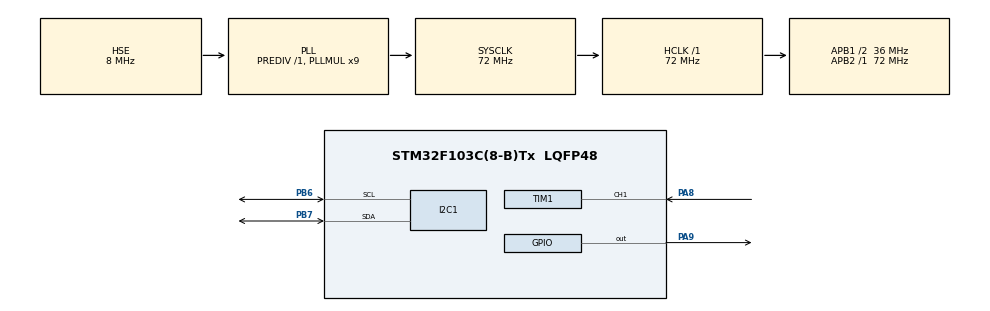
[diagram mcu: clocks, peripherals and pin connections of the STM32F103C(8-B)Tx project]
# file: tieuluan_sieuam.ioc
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Mcu.Family=STM32F1
Mcu.Name=STM32F103C(8-B)Tx
Mcu.Package=LQFP48
NVIC.PriorityGroup=NVIC_PRIORITYGROUP_4
NVIC.TIM1_CC_IRQn=true\:0\:0\:false\:false\:true\:true\:true\:true
PA13.Mode=Serial_Wire
PA13.Signal=SYS_JTMS-SWDIO
PA14.Mode=Serial_Wire
PA14.Signal=SYS_JTCK-SWCLK
PA8.Signal=S_TIM1_CH1
PA9.Signal=GPIO_Output
PB6.Mode=I2C
PB6.Signal=I2C1_SCL
PB7.Mode=I2C
PB7.Signal=I2C1_SDA
PD0-OSC_IN.Mode=HSE-External-Oscillator
PD0-OSC_IN.Signal=RCC_OSC_IN
PD1-OSC_OUT.Mode=HSE-External-Oscillator
PD1-OSC_OUT.Signal=RCC_OSC_OUT
ProjectManager.HeapSize=0x200
ProjectManager.StackSize=0x400
ProjectManager.TargetToolchain=MDK-ARM V5.32
RCC.AHBFreq_Value=72000000
RCC.APB1CLKDivider=RCC_HCLK_DIV2
RCC.APB1Freq_Value=36000000
RCC.APB1TimFreq_Value=72000000
RCC.APB2Freq_Value=72000000
RCC.APB2TimFreq_Value=72000000
RCC.HCLKFreq_Value=72000000
RCC.PLLMUL=RCC_PLL_MUL9
RCC.PLLSourceVirtual=RCC_PLLSOURCE_HSE
RCC.SYSCLKFreq_VALUE=72000000
RCC.SYSCLKSource=RCC_SYSCLKSOURCE_PLLCLK
RCC.USBFreq_Value=72000000
SH.S_TIM1_CH1.0=TIM1_CH1,Input_Capture1_from_TI1
TIM1.Channel-Input_Capture1_from_TI1=TIM_CHANNEL_1
TIM1.ICFilter_CH1=0
TIM1.Period=0xffff-1
TIM1.Prescaler=71
board=custom

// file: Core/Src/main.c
/* USER CODE BEGIN Header */
/**
  ******************************************************************************
  * @file           : main.c
  * @brief          : Main program body
  ******************************************************************************
  * @attention
  *
  * Copyright (c) 2023 STMicroelectronics.
  * All rights reserved.
  *
  * This software is licensed under terms that can be found in the LICENSE file
  * in the root directory of this software component.
  * If no LICENSE file comes with this software, it is provided AS-IS.
  *
  ******************************************************************************
  */
/* USER CODE END Header */
#include "main.h"
#include "i2c.h"
#include "tim.h"
#include "gpio.h"

/* USER CODE BEGIN Includes */
#include "i2c-lcd.h"
#include "string.h"
#include "stdio.h"

/* USER CODE END Includes */

/* USER CODE BEGIN PTD */
uint32_t IC_Val1 = 0;
uint32_t IC_Val2 = 0;
uint32_t Difference = 0;
uint8_t Is_First_Captured = 0;  // is the first value captured ?
uint8_t Distance  = 0;
uint8_t dis = 0;
/* USER CODE END PTD */

/* USER CODE BEGIN PD */
#define TRIG_PIN GPIO_PIN_9
#define TRIG_PORT GPIOA
/* USER CODE END PD */

void SystemClock_Config(void);

/* USER CODE BEGIN 0 */
void delay(uint16_t time){
	__HAL_TIM_SET_COUNTER(&htim1, 0);
	while(__HAL_TIM_GET_COUNTER(&htim1) < time);
}
void HAL_TIM_IC_CaptureCallback(TIM_HandleTypeDef *htim)
{
	if (htim->Channel == HAL_TIM_ACTIVE_CHANNEL_1)
	{
		if (Is_First_Captured==0)
		{
			IC_Val1 = HAL_TIM_ReadCapturedValue(htim, TIM_CHANNEL_1);
			Is_First_Captured = 1;

			__HAL_TIM_SET_CAPTUREPOLARITY(htim, TIM_CHANNEL_1, TIM_INPUTCHANNELPOLARITY_FALLING);
		}
		else if (Is_First_Captured==1)
		{
			IC_Val2 = HAL_TIM_ReadCapturedValue(htim, TIM_CHANNEL_1);
			__HAL_TIM_SET_COUNTER(htim, 0);
			if (IC_Val2 > IC_Val1)
			{
				Difference = IC_Val2-IC_Val1;
			}
			else if (IC_Val1 > IC_Val2)
			{
				Difference = (0xffff - IC_Val1) + IC_Val2;
			}
			Distance = Difference * .034/2;
			Is_First_Captured = 0;

			__HAL_TIM_SET_CAPTUREPOLARITY(htim, TIM_CHANNEL_1, TIM_INPUTCHANNELPOLARITY_RISING);
			__HAL_TIM_DISABLE_IT(&htim1, TIM_IT_CC1);
		}
	}
}

void HCSR04_Read (void)
{
	HAL_GPIO_WritePin(TRIG_PORT, TRIG_PIN, GPIO_PIN_SET);
	delay(10);
	HAL_GPIO_WritePin(TRIG_PORT, TRIG_PIN, GPIO_PIN_RESET);

	__HAL_TIM_ENABLE_IT(&htim1, TIM_IT_CC1);

}

/* USER CODE END 0 */

int main(void)
{

  /* MCU Configuration--------------------------------------------------------*/

  /* Reset of all peripherals, Initializes the Flash interface and the Systick. */
  HAL_Init();

  /* Configure the system clock */
  SystemClock_Config();

  /* Initialize all configured peripherals */
  MX_GPIO_Init();
  MX_TIM1_Init();
  MX_I2C1_Init();
  /* USER CODE BEGIN 2 */
	lcd_init();
HAL_TIM_IC_Start_IT(&htim1,TIM_CHANNEL_1);

  /* USER CODE END 2 */

  /* Infinite loop */
  /* USER CODE BEGIN WHILE */
  while (1)
  {
		lcd_put_cur(0,0);
		lcd_send_string("Distance= ");
     HCSR04_Read();

		lcd_send_data((Distance/10)+48);
		lcd_send_data((Distance%10) +48);
		lcd_send_string(" cm");
		HAL_Delay(100);
    /* USER CODE END WHILE */

  }
}

void SystemClock_Config(void)
{
  RCC_OscInitTypeDef RCC_OscInitStruct = {0};
  RCC_ClkInitTypeDef RCC_ClkInitStruct = {0};

  /** Initializes the RCC Oscillators according to the specified parameters
  * in the RCC_OscInitTypeDef structure.
  */
  RCC_OscInitStruct.OscillatorType = RCC_OSCILLATORTYPE_HSE;
  RCC_OscInitStruct.HSEState = RCC_HSE_ON;
  RCC_OscInitStruct.HSEPredivValue = RCC_HSE_PREDIV_DIV1;
  RCC_OscInitStruct.HSIState = RCC_HSI_ON;
  RCC_OscInitStruct.PLL.PLLState = RCC_PLL_ON;
  RCC_OscInitStruct.PLL.PLLSource = RCC_PLLSOURCE_HSE;
  RCC_OscInitStruct.PLL.PLLMUL = RCC_PLL_MUL9;
  if (HAL_RCC_OscConfig(&RCC_OscInitStruct) != HAL_OK)
  {
    Error_Handler();
  }

  /** Initializes the CPU, AHB and APB buses clocks
  */
  RCC_ClkInitStruct.ClockType = RCC_CLOCKTYPE_HCLK|RCC_CLOCKTYPE_SYSCLK
                              |RCC_CLOCKTYPE_PCLK1|RCC_CLOCKTYPE_PCLK2;
  RCC_ClkInitStruct.SYSCLKSource = RCC_SYSCLKSOURCE_PLLCLK;
  RCC_ClkInitStruct.AHBCLKDivider = RCC_SYSCLK_DIV1;
  RCC_ClkInitStruct.APB1CLKDivider = RCC_HCLK_DIV2;
  RCC_ClkInitStruct.APB2CLKDivider = RCC_HCLK_DIV1;

  if (HAL_RCC_ClockConfig(&RCC_ClkInitStruct, FLASH_LATENCY_2) != HAL_OK)
  {
    Error_Handler();
  }
}

void Error_Handler(void)
{
  __disable_irq();
  while (1)
  {
  }
}
